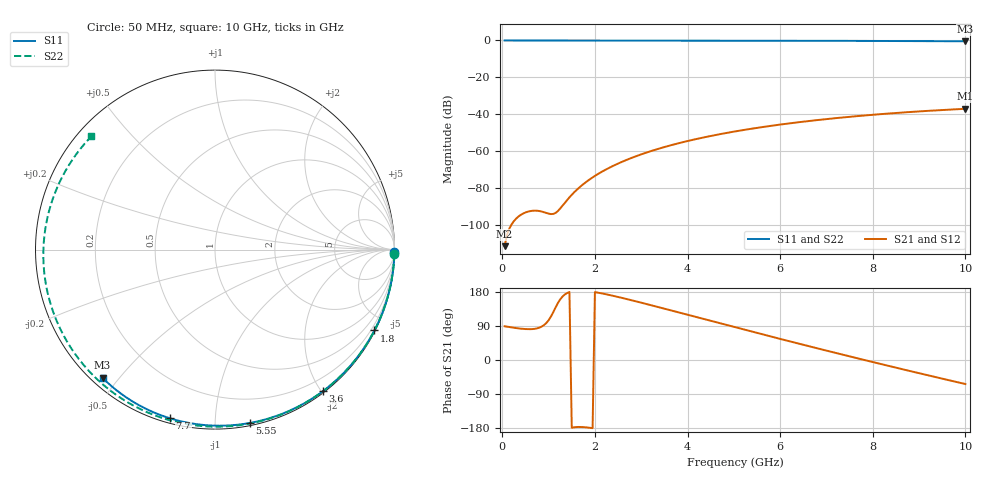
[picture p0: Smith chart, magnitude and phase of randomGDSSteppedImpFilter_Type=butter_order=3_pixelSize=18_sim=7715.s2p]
! freq	dB(S11)	phase(S11)	dB(S12)	phase(S12)
!  dB(S21)	phase(S21)	dB(S22)	phase(S22)
!S-par simulation data
#  GHz  S  DB  R 50
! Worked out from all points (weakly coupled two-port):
!   200 points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, 50 MHz to 10 GHz, reference 50 ohm
!   highest |S21| = -37.07 dB at 10 GHz (marker M1); lowest = -111.5 dB at 50 MHz (marker M2)
!   lowest |S11| = -0.4 dB at 10 GHz (marker M3), VSWR 39.22, Z = 1.54 - j22.6 ohm
!   |S11| at or under -10 dB: nowhere
!   |S22| runs from -0.6 to 0.0 dB; largest |S21 - S12| = 0
!   S11 on the Smith chart (normalised r, x): 50 MHz: open; 1.8 GHz: 0.04, -4.18; 3.6 GHz: 0.02, -2.02; 5.55 GHz: 0.02, -1.22; 7.7 GHz: 0.02, -0.77; 10 GHz: 0.03, -0.45
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0.05  -0.00 -0.8  -111.53 89.0  -111.53 89.0  -0.00 -1.4
0.4  -0.01 -6.0  -94.55 82.7  -94.55 82.7  -0.01 -10.7
0.8  -0.02 -12.1  -92.48 85.3  -92.48 85.3  -0.03 -21.3
1.2  -0.02 -18.0  -92.49 150.2  -92.49 150.2  -0.04 -31.8
1.65  -0.03 -24.7  -80.01 -176.7  -80.01 -176.7  -0.05 -43.3
1.75  -0.03 -26.2  -77.90 -177.0  -77.90 -177.0  -0.06 -45.8
1.8  -0.03 -26.9  -76.92 -177.5  -76.92 -177.5  -0.06 -47.1
2.1  -0.04 -31.3  -71.90 176.9  -71.90 176.9  -0.07 -54.6
2.5  -0.05 -37.1  -66.74 166.4  -66.74 166.4  -0.08 -64.3
2.9  -0.06 -42.8  -62.65 154.4  -62.65 154.4  -0.09 -73.8
3.4  -0.07 -49.8  -58.52 138.6  -58.52 138.6  -0.11 -85.4
3.6  -0.07 -52.6  -57.09 132.2  -57.09 132.2  -0.12 -89.9
4.3  -0.09 -62.2  -52.83 109.7  -52.83 109.7  -0.14 -105.2
5.05  -0.11 -72.1  -49.22 85.7  -49.22 85.7  -0.18 -120.9
5.55  -0.13 -78.6  -47.20 69.8  -47.20 69.8  -0.20 -131.1
6.15  -0.15 -86.2  -45.11 51.0  -45.11 51.0  -0.24 -143.1
6.7  -0.18 -92.9  -43.45 33.9  -43.45 33.9  -0.28 -154.0
7.2  -0.21 -99.0  -42.12 18.6  -42.12 18.6  -0.32 -163.9
7.7  -0.24 -104.9  -40.94 3.5  -40.94 3.5  -0.36 -173.8
8.35  -0.29 -112.5  -39.60 -15.8  -39.60 -15.8  -0.42 173.0
9.2  -0.36 -122.2  -38.15 -40.6  -38.15 -40.6  -0.51 155.2
10  -0.44 -131.3  -37.07 -63.4  -37.07 -63.4  -0.59 137.5
